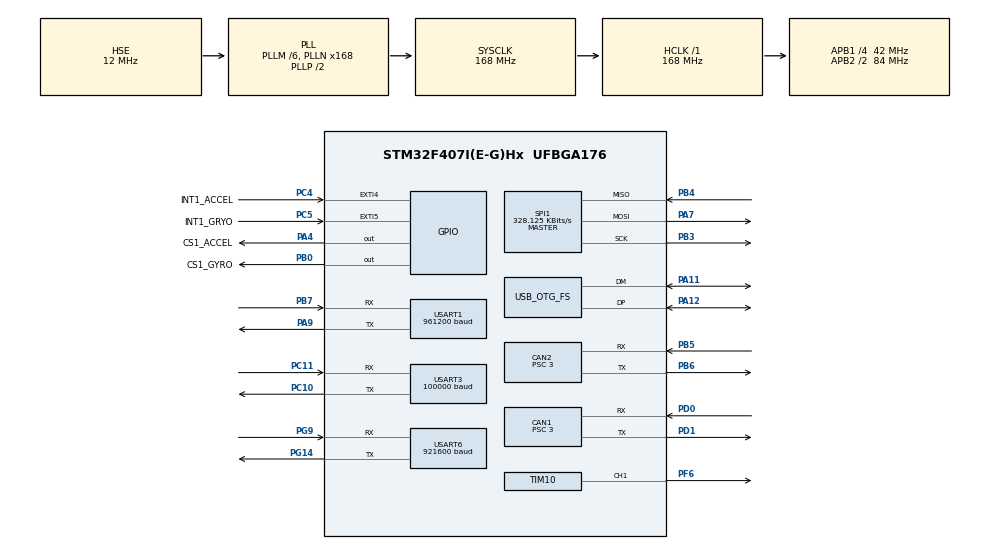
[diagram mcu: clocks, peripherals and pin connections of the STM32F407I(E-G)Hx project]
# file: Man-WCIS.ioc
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CAN1.ABOM=ENABLE
CAN1.AWUM=ENABLE
CAN1.BS1=CAN_BS1_9TQ
CAN1.BS2=CAN_BS2_4TQ
CAN1.CalculateBaudRate=1000000
CAN1.CalculateTimeBit=1000
CAN1.CalculateTimeQuantum=71.42857142857143
CAN1.Prescaler=3
CAN2.ABOM=ENABLE
CAN2.AWUM=ENABLE
CAN2.BS1=CAN_BS1_9TQ
CAN2.BS2=CAN_BS2_4TQ
CAN2.CalculateBaudRate=1000000
CAN2.CalculateTimeBit=1000
CAN2.CalculateTimeQuantum=71.42857142857143
CAN2.Prescaler=3
Dma.Request0=SPI1_RX
Dma.Request1=SPI1_TX
Dma.Request2=USART3_RX
Dma.Request3=USART6_RX
Dma.Request4=USART6_TX
Dma.Request5=USART1_RX
Dma.Request6=USART1_TX
Dma.SPI1_RX.0.Direction=DMA_PERIPH_TO_MEMORY
Dma.SPI1_RX.0.FIFOMode=DMA_FIFOMODE_DISABLE
Dma.SPI1_RX.0.Instance=DMA2_Stream2
Dma.SPI1_RX.0.MemDataAlignment=DMA_MDATAALIGN_BYTE
Dma.SPI1_RX.0.MemInc=DMA_MINC_ENABLE
Dma.SPI1_RX.0.Mode=DMA_NORMAL
Dma.SPI1_RX.0.PeriphDataAlignment=DMA_PDATAALIGN_BYTE
Dma.SPI1_RX.0.PeriphInc=DMA_PINC_DISABLE
Dma.SPI1_RX.0.Priority=DMA_PRIORITY_VERY_HIGH
Dma.SPI1_TX.1.Direction=DMA_MEMORY_TO_PERIPH
Dma.SPI1_TX.1.FIFOMode=DMA_FIFOMODE_DISABLE
Dma.SPI1_TX.1.Instance=DMA2_Stream3
Dma.SPI1_TX.1.MemDataAlignment=DMA_MDATAALIGN_BYTE
Dma.SPI1_TX.1.MemInc=DMA_MINC_ENABLE
Dma.SPI1_TX.1.Mode=DMA_NORMAL
Dma.SPI1_TX.1.PeriphDataAlignment=DMA_PDATAALIGN_BYTE
Dma.SPI1_TX.1.PeriphInc=DMA_PINC_DISABLE
Dma.SPI1_TX.1.Priority=DMA_PRIORITY_HIGH
Dma.USART1_RX.5.Direction=DMA_PERIPH_TO_MEMORY
Dma.USART1_RX.5.FIFOMode=DMA_FIFOMODE_DISABLE
Dma.USART1_RX.5.Instance=DMA2_Stream5
Dma.USART1_RX.5.MemDataAlignment=DMA_MDATAALIGN_BYTE
Dma.USART1_RX.5.MemInc=DMA_MINC_ENABLE
Dma.USART1_RX.5.Mode=DMA_CIRCULAR
Dma.USART1_RX.5.PeriphDataAlignment=DMA_PDATAALIGN_BYTE
Dma.USART1_RX.5.PeriphInc=DMA_PINC_DISABLE
Dma.USART1_RX.5.Priority=DMA_PRIORITY_HIGH
Dma.USART1_TX.6.Direction=DMA_MEMORY_TO_PERIPH
Dma.USART1_TX.6.FIFOMode=DMA_FIFOMODE_DISABLE
Dma.USART1_TX.6.Instance=DMA2_Stream7
Dma.USART1_TX.6.MemDataAlignment=DMA_MDATAALIGN_BYTE
Dma.USART1_TX.6.MemInc=DMA_MINC_ENABLE
Dma.USART1_TX.6.Mode=DMA_NORMAL
Dma.USART1_TX.6.PeriphDataAlignment=DMA_PDATAALIGN_BYTE
Dma.USART1_TX.6.PeriphInc=DMA_PINC_DISABLE
Dma.USART1_TX.6.Priority=DMA_PRIORITY_HIGH
Dma.USART3_RX.2.Direction=DMA_PERIPH_TO_MEMORY
Dma.USART3_RX.2.FIFOMode=DMA_FIFOMODE_DISABLE
Dma.USART3_RX.2.Instance=DMA1_Stream1
Dma.USART3_RX.2.MemDataAlignment=DMA_MDATAALIGN_BYTE
Dma.USART3_RX.2.MemInc=DMA_MINC_ENABLE
Dma.USART3_RX.2.Mode=DMA_NORMAL
Dma.USART3_RX.2.PeriphDataAlignment=DMA_PDATAALIGN_BYTE
Dma.USART3_RX.2.PeriphInc=DMA_PINC_DISABLE
Dma.USART3_RX.2.Priority=DMA_PRIORITY_LOW
Dma.USART6_RX.3.Direction=DMA_PERIPH_TO_MEMORY
Dma.USART6_RX.3.FIFOMode=DMA_FIFOMODE_DISABLE
Dma.USART6_RX.3.Instance=DMA2_Stream1
Dma.USART6_RX.3.MemDataAlignment=DMA_MDATAALIGN_BYTE
Dma.USART6_RX.3.MemInc=DMA_MINC_ENABLE
Dma.USART6_RX.3.Mode=DMA_NORMAL
Dma.USART6_RX.3.PeriphDataAlignment=DMA_PDATAALIGN_BYTE
Dma.USART6_RX.3.PeriphInc=DMA_PINC_DISABLE
Dma.USART6_RX.3.Priority=DMA_PRIORITY_HIGH
Dma.USART6_TX.4.Direction=DMA_MEMORY_TO_PERIPH
Dma.USART6_TX.4.FIFOMode=DMA_FIFOMODE_DISABLE
Dma.USART6_TX.4.Instance=DMA2_Stream6
Dma.USART6_TX.4.MemDataAlignment=DMA_MDATAALIGN_BYTE
Dma.USART6_TX.4.MemInc=DMA_MINC_ENABLE
Dma.USART6_TX.4.Mode=DMA_NORMAL
Dma.USART6_TX.4.PeriphDataAlignment=DMA_PDATAALIGN_BYTE
Dma.USART6_TX.4.PeriphInc=DMA_PINC_DISABLE
Dma.USART6_TX.4.Priority=DMA_PRIORITY_HIGH
FREERTOS.Tasks01=INS_task,3,256,Start_INS_Task,As weak,NULL,Dynamic,NULL,NULL;Gimbal_Task,0,256,Gimbal_Control,As weak,NULL,Dynamic,NULL,NULL;Shoot_Task,-2,256,Shoot_Control,As weak,NULL,Dynamic,NULL,NULL;Vision_Task,3,256,Vision_Control,As weak,NULL,Dynamic,NULL,NULL;start_queue,2,256,Start_queue,Default,NULL,Dynamic,NULL,NULL
FREERTOS.configMINIMAL_STACK_SIZE=256
Mcu.Family=STM32F4
Mcu.Name=STM32F407I(E-G)Hx
Mcu.Package=UFBGA176
NVIC.CAN1_RX0_IRQn=true\:5\:0\:false\:false\:true\:true\:true\:true\:true
NVIC.CAN1_TX_IRQn=true\:5\:0\:false\:false\:true\:true\:true\:true\:true
NVIC.CAN2_RX0_IRQn=true\:5\:0\:false\:false\:true\:true\:true\:true\:true
NVIC.CAN2_TX_IRQn=true\:5\:0\:false\:false\:true\:true\:true\:true\:true
NVIC.DMA1_Stream1_IRQn=true\:5\:0\:false\:false\:true\:true\:false\:true\:true
NVIC.DMA2_Stream1_IRQn=true\:5\:0\:false\:false\:true\:true\:false\:true\:true
NVIC.DMA2_Stream2_IRQn=true\:5\:0\:false\:false\:true\:false\:false\:true\:true
NVIC.DMA2_Stream3_IRQn=true\:5\:0\:false\:false\:true\:true\:false\:true\:true
NVIC.DMA2_Stream5_IRQn=true\:5\:0\:false\:false\:true\:true\:false\:true\:true
NVIC.DMA2_Stream6_IRQn=true\:5\:0\:false\:false\:true\:true\:false\:true\:true
NVIC.DMA2_Stream7_IRQn=true\:5\:0\:false\:false\:true\:true\:false\:true\:true
NVIC.EXTI4_IRQn=true\:5\:0\:false\:false\:true\:false\:true\:true\:true
NVIC.EXTI9_5_IRQn=true\:5\:0\:false\:false\:true\:false\:true\:true\:true
NVIC.OTG_FS_IRQn=true\:5\:0\:false\:false\:true\:true\:false\:true\:true
NVIC.PriorityGroup=NVIC_PRIORITYGROUP_4
NVIC.TIM6_DAC_IRQn=true\:5\:0\:false\:false\:true\:true\:true\:true\:true
NVIC.USART1_IRQn=true\:5\:0\:false\:false\:true\:true\:true\:true\:true
NVIC.USART6_IRQn=true\:5\:0\:false\:false\:true\:true\:true\:true\:true
PA11.Mode=Device_Only
PA11.Signal=USB_OTG_FS_DM
PA12.Mode=Device_Only
PA12.Signal=USB_OTG_FS_DP
PA13.Mode=Serial_Wire
PA13.Signal=SYS_JTMS-SWDIO
PA14.Mode=Serial_Wire
PA14.Signal=SYS_JTCK-SWCLK
PA4.GPIO_Label=CS1_ACCEL
PA4.GPIO_PuPd=GPIO_PULLUP
PA4.GPIO_Speed=GPIO_SPEED_FREQ_HIGH
PA4.PinState=GPIO_PIN_SET
PA4.Signal=GPIO_Output
PA7.Mode=Full_Duplex_Master
PA7.Signal=SPI1_MOSI
PA9.Mode=Asynchronous
PA9.Signal=USART1_TX
PB0.GPIO_Label=CS1_GYRO
PB0.GPIO_PuPd=GPIO_PULLUP
PB0.GPIO_Speed=GPIO_SPEED_FREQ_HIGH
PB0.PinState=GPIO_PIN_SET
PB0.Signal=GPIO_Output
PB3.Mode=Full_Duplex_Master
PB3.Signal=SPI1_SCK
PB4.Mode=Full_Duplex_Master
PB4.Signal=SPI1_MISO
PB5.Mode=CAN_Activate
PB5.Signal=CAN2_RX
PB6.Mode=CAN_Activate
PB6.Signal=CAN2_TX
PB7.Mode=Asynchronous
PB7.Signal=USART1_RX
PC10.Mode=Asynchronous
PC10.Signal=USART3_TX
PC11.Mode=Asynchronous
PC11.Signal=USART3_RX
PC14-OSC32_IN.Mode=LSE-External-Oscillator
PC14-OSC32_IN.Signal=RCC_OSC32_IN
PC15-OSC32_OUT.Mode=LSE-External-Oscillator
PC15-OSC32_OUT.Signal=RCC_OSC32_OUT
PC4.GPIO_Label=INT1_ACCEL
PC4.GPIO_PuPd=GPIO_PULLUP
PC4.Signal=GPXTI4
PC5.GPIO_Label=INT1_GRYO
PC5.GPIO_PuPd=GPIO_PULLUP
PC5.Signal=GPXTI5
PD0.Mode=CAN_Activate
PD0.Signal=CAN1_RX
PD1.Mode=CAN_Activate
PD1.Signal=CAN1_TX
PF6.Signal=S_TIM10_CH1
PG14.Mode=Asynchronous
PG14.Signal=USART6_TX
PG9.Mode=Asynchronous
PG9.Signal=USART6_RX
PH0-OSC_IN.Mode=HSE-External-Oscillator
PH0-OSC_IN.Signal=RCC_OSC_IN
PH1-OSC_OUT.Mode=HSE-External-Oscillator
PH1-OSC_OUT.Signal=RCC_OSC_OUT
ProjectManager.HeapSize=0x200
ProjectManager.StackSize=0x400
ProjectManager.TargetToolchain=CMake
RCC.48MHZClocksFreq_Value=48000000
RCC.AHBFreq_Value=168000000
RCC.APB1CLKDivider=RCC_HCLK_DIV4
RCC.APB1Freq_Value=42000000
RCC.APB1TimFreq_Value=84000000
RCC.APB2CLKDivider=RCC_HCLK_DIV2
RCC.APB2Freq_Value=84000000
RCC.APB2TimFreq_Value=168000000
RCC.CortexFreq_Value=168000000
RCC.HCLKFreq_Value=168000000
RCC.HSE_VALUE=12000000
RCC.HSI_VALUE=16000000
RCC.PLLM=6
RCC.PLLN=168
RCC.PLLQ=7
RCC.SYSCLKFreq_VALUE=168000000
RCC.SYSCLKSource=RCC_SYSCLKSOURCE_PLLCLK
RCC.VCOOutputFreq_Value=336000000
SH.S_TIM10_CH1.0=TIM10_CH1,PWM Generation1 CH1
SPI1.BaudRatePrescaler=SPI_BAUDRATEPRESCALER_256
SPI1.CLKPhase=SPI_PHASE_2EDGE
SPI1.CLKPolarity=SPI_POLARITY_HIGH
SPI1.CalculateBaudRate=328.125 KBits/s
SPI1.Direction=SPI_DIRECTION_2LINES
SPI1.Mode=SPI_MODE_MASTER
SPI1.VirtualType=VM_MASTER
TIM10.Channel=TIM_CHANNEL_1
TIM10.Period=100
TIM10.Prescaler=16800
TIM6.Period=999
TIM6.Prescaler=839
USART1.BaudRate=961200
USART1.VirtualMode=VM_ASYNC
USART3.BaudRate=100000
USART3.VirtualMode=VM_ASYNC
USART6.BaudRate=921600
USART6.VirtualMode=VM_ASYNC
USB_DEVICE.CLASS_NAME_FS=CDC
USB_DEVICE.VirtualMode-CDC_FS=Cdc
USB_DEVICE.VirtualModeFS=Cdc_FS
USB_OTG_FS.VirtualMode=Device_Only
VP_FREERTOS_VS_CMSIS_V1.Mode=CMSIS_V1
VP_TIM10_VS_ClockSourceINT.Mode=Enable_Timer
VP_TIM6_VS_ClockSourceINT.Mode=Enable_Timer
VP_USB_DEVICE_VS_USB_DEVICE_CDC_FS.Mode=CDC_FS
board=custom

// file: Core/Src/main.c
/* USER CODE BEGIN Header */
/**
  ******************************************************************************
  * @file           : main.c
  * @brief          : Main program body
  ******************************************************************************
  * @attention
  *
  * Copyright (c) 2024 STMicroelectronics.
  * All rights reserved.
  *
  * This software is licensed under terms that can be found in the LICENSE file
  * in the root directory of this software component.
  * If no LICENSE file comes with this software, it is provided AS-IS.
  *
  ******************************************************************************
  */
/* USER CODE END Header */
#include "main.h"
#include "cmsis_os.h"
#include "can.h"
#include "dma.h"
#include "spi.h"
#include "tim.h"
#include "usart.h"
#include "usb_device.h"
#include "gpio.h"

/* USER CODE BEGIN Includes */
//#include "bsp_uart.h"
/* USER CODE END Includes */

/* USER CODE BEGIN PD */
extern DMA_HandleTypeDef hdma_usart3_rx;
u8 dbus_recieve_1[36],dbus_recieve_2[36];
/* USER CODE END PD */

void SystemClock_Config(void);
void MX_FREERTOS_Init(void);
/* USER CODE BEGIN PFP */
uint8_t YiNianTongTian;
/* USER CODE END PFP */

int main(void)
{

  /* MCU Configuration--------------------------------------------------------*/

  /* Reset of all peripherals, Initializes the Flash interface and the Systick. */
  HAL_Init();

  /* Configure the system clock */
  SystemClock_Config();

  /* Initialize all configured peripherals */
  MX_GPIO_Init();
  MX_DMA_Init();
  MX_SPI1_Init();
  MX_CAN1_Init();
  MX_CAN2_Init();
  MX_USART3_UART_Init();
  MX_TIM6_Init();
  MX_USART6_UART_Init();
  MX_USART1_UART_Init();
  MX_TIM10_Init();
  /* USER CODE BEGIN 2 */
  tele_link_init();
  HAL_TIM_Base_Start_IT(&htim6);
	HAL_CAN_MspInit(&hcan1);
	HAL_CAN_MspInit(&hcan2);
	can_filter_init();
	HAL_NVIC_SetPriority(USART3_IRQn, 5, 0);
	HAL_NVIC_EnableIRQ(USART3_IRQn);
	SET_BIT(huart3.Instance->CR3, USART_CR3_DMAR);//Open DMA
	__HAL_UART_ENABLE_IT(&huart3, UART_IT_IDLE);//OPEN IDLE interrupt
	__HAL_DMA_DISABLE(&hdma_usart3_rx);  //Disable DMA
	while(hdma_usart3_rx.Instance->CR & DMA_SxCR_EN)
	{
			__HAL_DMA_DISABLE(&hdma_usart3_rx);
	}
	__HAL_DMA_CLEAR_FLAG(&hdma_usart3_rx, DMA_LISR_TCIF1);
	hdma_usart3_rx.Instance->PAR = (uint32_t) & (USART3->DR);
	hdma_usart3_rx.Instance->M0AR = (uint32_t)(dbus_recieve_1);
	hdma_usart3_rx.Instance->M1AR = (uint32_t)(dbus_recieve_2);
	__HAL_DMA_SET_COUNTER(&hdma_usart3_rx, 36u);
	SET_BIT(hdma_usart3_rx.Instance->CR, DMA_SxCR_DBM);
	__HAL_DMA_ENABLE(&hdma_usart3_rx);

  YiNianTongTian=BMI088_init();
  while(YiNianTongTian)
  {
	  YiNianTongTian=BMI088_init();
  }
	rc.sl=2;
  MX_USB_DEVICE_Init();
  /* USER CODE END 2 */

  /* Call init function for freertos objects (in cmsis_os2.c) */
  MX_FREERTOS_Init();

  /* Start scheduler */
  osKernelStart();

  /* We should never get here as control is now taken by the scheduler */

  /* Infinite loop */
  while (1)
  {

  }
}

void SystemClock_Config(void)
{
  RCC_OscInitTypeDef RCC_OscInitStruct = {0};
  RCC_ClkInitTypeDef RCC_ClkInitStruct = {0};

  /** Configure the main internal regulator output voltage
  */
  __HAL_RCC_PWR_CLK_ENABLE();
  __HAL_PWR_VOLTAGESCALING_CONFIG(PWR_REGULATOR_VOLTAGE_SCALE1);

  /** Initializes the RCC Oscillators according to the specified parameters
  * in the RCC_OscInitTypeDef structure.
  */
  RCC_OscInitStruct.OscillatorType = RCC_OSCILLATORTYPE_HSE;
  RCC_OscInitStruct.HSEState = RCC_HSE_ON;
  RCC_OscInitStruct.PLL.PLLState = RCC_PLL_ON;
  RCC_OscInitStruct.PLL.PLLSource = RCC_PLLSOURCE_HSE;
  RCC_OscInitStruct.PLL.PLLM = 6;
  RCC_OscInitStruct.PLL.PLLN = 168;
  RCC_OscInitStruct.PLL.PLLP = RCC_PLLP_DIV2;
  RCC_OscInitStruct.PLL.PLLQ = 7;
  if (HAL_RCC_OscConfig(&RCC_OscInitStruct) != HAL_OK)
  {
    Error_Handler();
  }

  /** Initializes the CPU, AHB and APB buses clocks
  */
  RCC_ClkInitStruct.ClockType = RCC_CLOCKTYPE_HCLK|RCC_CLOCKTYPE_SYSCLK
                              |RCC_CLOCKTYPE_PCLK1|RCC_CLOCKTYPE_PCLK2;
  RCC_ClkInitStruct.SYSCLKSource = RCC_SYSCLKSOURCE_PLLCLK;
  RCC_ClkInitStruct.AHBCLKDivider = RCC_SYSCLK_DIV1;
  RCC_ClkInitStruct.APB1CLKDivider = RCC_HCLK_DIV4;
  RCC_ClkInitStruct.APB2CLKDivider = RCC_HCLK_DIV2;

  if (HAL_RCC_ClockConfig(&RCC_ClkInitStruct, FLASH_LATENCY_5) != HAL_OK)
  {
    Error_Handler();
  }
}

/* USER CODE BEGIN 4 */

void Women_WCIS(Slow *wrr)
{
	wrr->Err=wrr->Set - wrr->Last;
	if(wrr->Err>0)
	{
		wrr->Out += (wrr->Err)/35;
		if(wrr->Out >= wrr->Set)
		{
			wrr->Out = wrr->Set;
			wrr->Last = wrr->Set;
		}
	}
	else if(wrr->Err <0)
	{
		wrr->Out+=wrr->Err/20;
		if(wrr->Out <= wrr->Set)
		{
			wrr->Out = wrr->Set;
			wrr->Last = wrr->Set;
		}
	}
}
void HAL_TIM_PeriodElapsedCallback(TIM_HandleTypeDef *htim)//100ms
{
if(htim->Instance == htim6.Instance)
{
	Women_WCIS(&S_W);
}
}

/* USER CODE END 4 */

void Error_Handler(void)
{
  __disable_irq();
  while (1)
  {
  }
}

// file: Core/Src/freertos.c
/* USER CODE BEGIN Header */
/**
  ******************************************************************************
  * File Name          : freertos.c
  * Description        : Code for freertos applications
  ******************************************************************************
  * @attention
  *
  * Copyright (c) 2024 STMicroelectronics.
  * All rights reserved.
  *
  * This software is licensed under terms that can be found in the LICENSE file
  * in the root directory of this software component.
  * If no LICENSE file comes with this software, it is provided AS-IS.
  *
  ******************************************************************************
  */
/* USER CODE END Header */

#include "FreeRTOS.h"
#include "task.h"
#include "main.h"
#include "cmsis_os.h"

osThreadId INS_taskHandle;
osThreadId Gimbal_TaskHandle;
osThreadId Shoot_TaskHandle;
osThreadId Vision_TaskHandle;
osThreadId start_queueHandle;

void Start_INS_Task(void const * argument);
void Gimbal_Control(void const * argument);
void Shoot_Control(void const * argument);
void Vision_Control(void const * argument);
void Start_queue(void const * argument);

extern void MX_USB_DEVICE_Init(void);
void MX_FREERTOS_Init(void); /* (MISRA C 2004 rule 8.1) */

/* GetIdleTaskMemory prototype (linked to static allocation support) */
void vApplicationGetIdleTaskMemory( StaticTask_t **ppxIdleTaskTCBBuffer, StackType_t **ppxIdleTaskStackBuffer, uint32_t *pulIdleTaskStackSize );

/* USER CODE BEGIN GET_IDLE_TASK_MEMORY */
static StaticTask_t xIdleTaskTCBBuffer;
static StackType_t xIdleStack[configMINIMAL_STACK_SIZE];

void vApplicationGetIdleTaskMemory( StaticTask_t **ppxIdleTaskTCBBuffer, StackType_t **ppxIdleTaskStackBuffer, uint32_t *pulIdleTaskStackSize )
{
  *ppxIdleTaskTCBBuffer = &xIdleTaskTCBBuffer;
  *ppxIdleTaskStackBuffer = &xIdleStack[0];
  *pulIdleTaskStackSize = configMINIMAL_STACK_SIZE;
  /* place for user code */
}
/* USER CODE END GET_IDLE_TASK_MEMORY */

void MX_FREERTOS_Init(void) {

  /* Create the thread(s) */
  /* definition and creation of INS_task */
  osThreadDef(INS_task, Start_INS_Task, osPriorityRealtime, 0, 256);
  INS_taskHandle = osThreadCreate(osThread(INS_task), NULL);

  /* definition and creation of Gimbal_Task */
  osThreadDef(Gimbal_Task, Gimbal_Control, osPriorityNormal, 0, 256);
  Gimbal_TaskHandle = osThreadCreate(osThread(Gimbal_Task), NULL);

  /* definition and creation of Shoot_Task */
  osThreadDef(Shoot_Task, Shoot_Control, osPriorityLow, 0, 256);
  Shoot_TaskHandle = osThreadCreate(osThread(Shoot_Task), NULL);

  /* definition and creation of Vision_Task */
  osThreadDef(Vision_Task, Vision_Control, osPriorityRealtime, 0, 256);
  Vision_TaskHandle = osThreadCreate(osThread(Vision_Task), NULL);

  /* definition and creation of start_queue */
  osThreadDef(start_queue, Start_queue, osPriorityHigh, 0, 256);
  start_queueHandle = osThreadCreate(osThread(start_queue), NULL);

}

__weak void Start_INS_Task(void const * argument)
{
  /* init code for USB_DEVICE */
  MX_USB_DEVICE_Init();
  for(;;)
  {
    osDelay(1);
  }
}

__weak void Gimbal_Control(void const * argument)
{
  for(;;)
  {
    osDelay(1);
  }
}

__weak void Shoot_Control(void const * argument)
{
  for(;;)
  {
    osDelay(1);
  }
}

__weak void Vision_Control(void const * argument)
{
  for(;;)
  {
    osDelay(1);
  }
}

void Start_queue(void const * argument)
{
  for(;;)
  {
    osDelay(1);
  }
}
